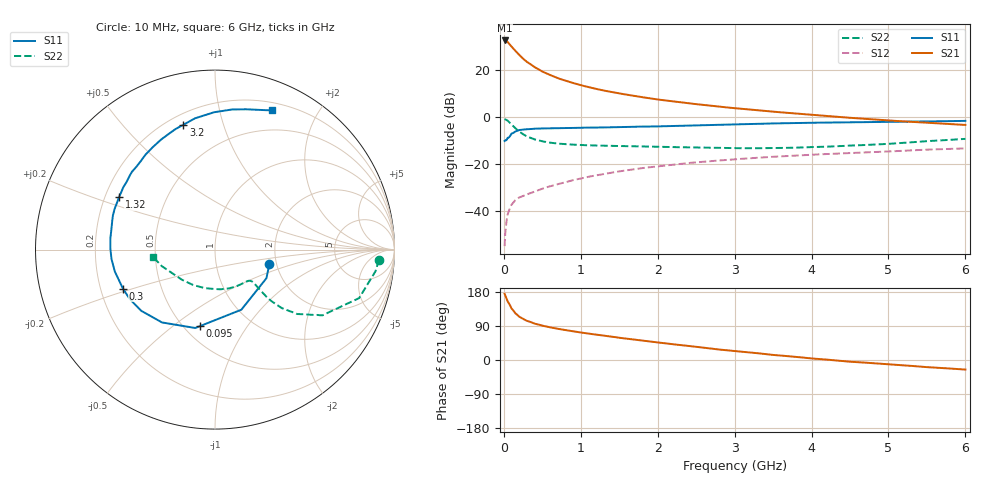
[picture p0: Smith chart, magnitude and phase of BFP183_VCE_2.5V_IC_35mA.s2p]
! Infineon Technologies  Discrete & RF Semiconductors
! BFP183
! VCE = 2.5 V,  IC =  35 mA
! Common Emitter S-Parameters:  Jan 2016
# GHz  S  MA  R  50
!  f  S11  S21  S12  S22
! GHz  MAG  ANG  MAG  ANG  MAG  ANG  MAG  ANG
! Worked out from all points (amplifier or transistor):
!   210 points, 10 MHz to 6 GHz, reference 50 ohm
!   highest |S21| = 32.7 dB at 10 MHz (marker M1)
!   |S21| within 3 dB of that: start of sweep to 112 MHz
!   unconditionally stable (mu >= 1): 478 MHz to 5.928 GHz
!   at 185 MHz: K = 0.57, MSG = 30.8 dB, |S12| = -34.5 dB
!   at 1.52 GHz: K = 1.26, MAG = 13.5 dB, |S12| = -23.0 dB
!   at 6 GHz: K = 0.99, MSG = 5.0 dB, |S12| = -13.3 dB
!   S11 on the Smith chart (normalised r, x): 10 MHz: 1.83, -0.33; 95 MHz: 0.60, -0.63; 300 MHz: 0.30, -0.19; 1.32 GHz: 0.26, +0.24; 3.2 GHz: 0.26, +0.75; 6 GHz: 0.28, +1.45
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0.01  0.3136 -14.9  43.26 174.7  0.0018 81.6  0.915 -3.6
0.02  0.3279 -29.1  42.89 169.7  0.0036 83.8  0.9022 -7.7
0.05  0.3656 -66.3  39.98 154.6  0.0086 73.1  0.8472 -18.6
0.095  0.4347 -101.1  32.84 138.1  0.0132 59.9  0.715 -29.9
0.1  0.4503 -104.1  32.25 135.9  0.0137 59.0  0.7024 -31.4
0.15  0.5018 -126.0  25.97 123.1  0.0172 53.4  0.5818 -38.1
0.2  0.534 -140.3  21.25 114.3  0.0196 51.6  0.4953 -41.2
0.26  0.55 -151.4  17.16 107.1  0.0214 50.5  0.4259 -42.4
0.3  0.5571 -157.1  15.14 103.3  0.0228 50.7  0.3905 -42.5
0.4  0.5714 -167.7  11.7 95.9  0.0261 53.7  0.3377 -41.8
0.5  0.5791 -174.9  9.418 90.6  0.0302 54.2  0.3069 -41.2
0.6  0.583 179.4  7.96 86.1  0.0339 56.1  0.288 -40.6
0.7  0.5863 174.1  6.799 82.3  0.0377 57.7  0.2753 -40.6
0.8  0.5872 169.9  6.018 78.8  0.0412 58.3  0.2677 -40.9
1.02  0.6003 160.8  4.729 72.0  0.0505 58.9  0.2558 -42.7
1.32  0.6096 151.1  3.652 63.7  0.0628 58.5  0.2479 -46.8
2.02  0.641 130.9  2.37 45.9  0.0912 53.7  0.2359 -60.8
3.1  0.7117 106.2  1.51 21.7  0.1308 43.6  0.2193 -91.6
3.2  0.7176 104.2  1.459 19.9  0.1341 42.6  0.2189 -94.9
4.1  0.7684 88.9  1.098 2.6  0.1624 34.1  0.2339 -125.2
5.1  0.803 76.6  0.836 -12.8  0.1904 26.0  0.2785 -153.7
6  0.8382 67.8  0.687 -25.3  0.2175 17.0  0.3469 -173.2
